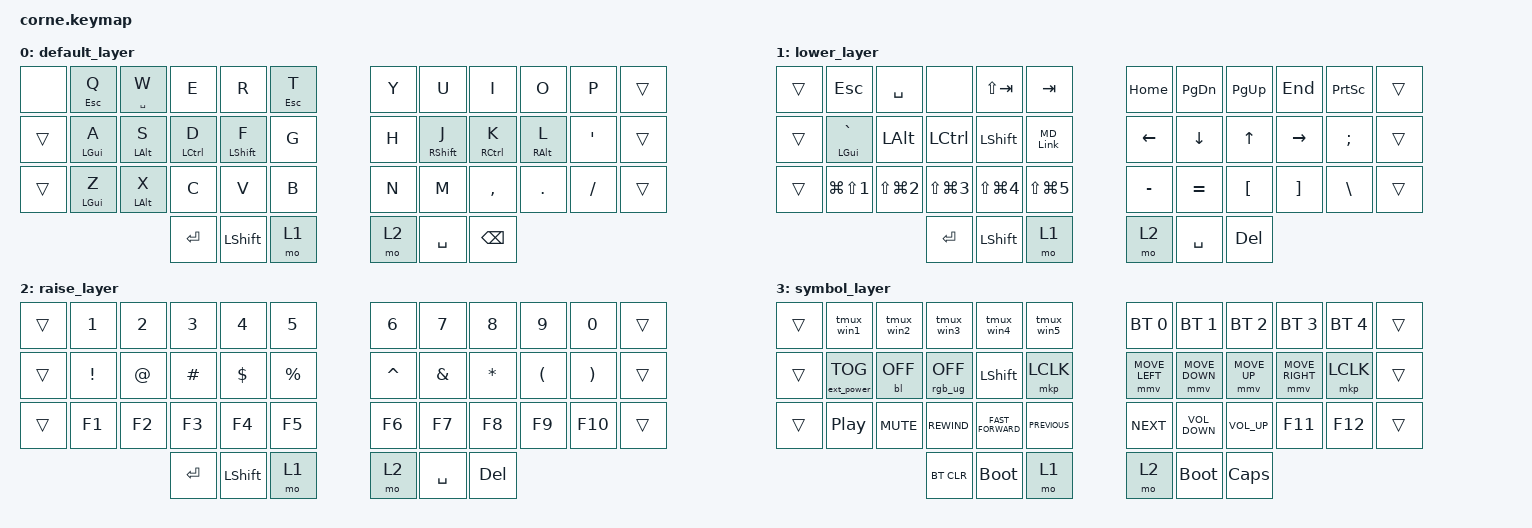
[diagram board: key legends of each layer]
/*
 * Copyright (c) 2020 The ZMK Contributors
 *
 * SPDX-License-Identifier: MIT
 */

#include <behaviors.dtsi>
#include <dt-bindings/zmk/backlight.h>
#include <dt-bindings/zmk/bt.h>
#include <dt-bindings/zmk/ext_power.h>
#include <dt-bindings/zmk/keys.h>
#include <dt-bindings/zmk/pointing.h>
#include <dt-bindings/zmk/rgb.h>

#define ZMK_POINTING_DEFAULT_MOVE_VAL 800  // default: 600
#define ZMK_POINTING_DEFAULT_SCRL_VAL 10    // default: 10
#define DEFAULT 0
#define LOWER   1
#define RAISE   2
#define SYMBOL  3

/ {
    behaviors {
        hm: homerow_mods {
            compatible = "zmk,behavior-hold-tap";
            #binding-cells = <2>;
            tapping-term-ms = <250>;
            quick-tap-ms = <0>;
            flavor = "tap-preferred";
            bindings = <&kp>, <&kp>;
        };
    };

    conditional_layers {
        compatible = "zmk,conditional-layers";

        tri_layer {
            if-layers = <1 2>;
            then-layer = <3>;
        };
    };

    macros {
        Copy: Copy {
            compatible = "zmk,behavior-macro";
            #binding-cells = <0>;
            bindings = <&kp LA(LS(TAB))>, <&macro_press>;

            label = "COPY";
        };

        MD_Link: MD_Link {
            compatible = "zmk,behavior-macro";
            #binding-cells = <0>;
            bindings = <&kp LEFT_BRACKET &kp RIGHT_BRACKET &kp LEFT_PARENTHESIS &kp RIGHT_PARENTHESIS>;
            label = "MD_LINK";
        };

        tmux_win1: tmux_win_1 {
            compatible = "zmk,behavior-macro";
            #binding-cells = <0>;
            bindings = <&kp LC(B) &kp NUMBER_1>;
            label = "TMUX_WIN_1";
        };

        tmux_win2: tmux_win2 {
            compatible = "zmk,behavior-macro";
            #binding-cells = <0>;
            bindings = <&kp LC(B) &kp NUMBER_2>;
            label = "TMUX_WIN2";
        };

        tmux_win3: tmux_win3 {
            compatible = "zmk,behavior-macro";
            #binding-cells = <0>;
            bindings = <&kp LC(B) &kp NUMBER_3>;
            label = "TMUX_WIN3";
        };

        tmux_win4: tmux_win4 {
            compatible = "zmk,behavior-macro";
            #binding-cells = <0>;
            bindings = <&kp LC(B) &kp NUMBER_4>;
            label = "TMUX_WIN4";
        };

        tmux_win5: tmux_win5 {
            compatible = "zmk,behavior-macro";
            #binding-cells = <0>;
            bindings = <&kp LC(B) &kp NUMBER_4>;
            label = "TMUX_WIN5";
        };
    };

    combos { compatible = "zmk,combos"; };

    keymap {
        compatible = "zmk,keymap";

        default_layer {
            // -----------------------------------------------------------------------------------------
            // |      |  Q  |  W  |  E  |  R  |  T  |   |  Y  |  U   |  I  |  O  |  P  | BSPC |
            // |      |  A  |  /S  |  CTRL/D  |  F  |  G  |   |  H  |  J   |  K  |  L  |  ;  |  '   |
            // |      |GUI/Z|  alt/X  |  C  |  V  |  B  |   |  N  |  M   |  ,  |  .  |  /  | ESC  |
            //                    | GUI | LWR | SPC |   | ENT | RSE  | ALT |

            bindings = <
&none   &hm ESCAPE Q    &hm SPACE W  &kp E        &kp R         &hm ESC T    &kp Y  &kp U         &kp I        &kp O       &kp P     &trans
&trans  &hm LEFT_GUI A  &hm LALT S   &hm LCTRL D  &hm LSHIFT F  &kp G        &kp H  &hm RSHIFT J  &hm RCTRL K  &hm RALT L  &kp SQT   &trans
&trans  &hm LGUI Z      &hm LALT X   &kp C        &kp V         &kp B        &kp N  &kp M         &kp COMMA    &kp DOT     &kp FSLH  &trans
                                     &kp ENTER    &kp LSHIFT    &mo 1        &mo 2  &kp SPACE     &kp BSPC
            >;
        };

        lower_layer {
            // -----------------------------------------------------------------------------------------
            // |  TAB |  1  |  2  |  3  |  LT |  GT |   |  6  |  7  |  8  |  9  |  0  | BSPC |
            // | BTCLR|  A  |  S  | CTRL|SHIFT|     |   | LFT | DWN |  UP | RGT |     |      |
            // | SHFT |     |     |     |     |     |   |     |     |     |     |     |      |
            //                    | GUI |     | SPC |   | ENT |     | ALT |

            bindings = <
&trans  &kp ESC               &kp SPACE             &none                 &kp LS(TAB)           &kp TAB           &kp HOME   &kp PG_DN  &kp PG_UP         &kp END            &kp PSCRN      &trans
&trans  &hm LEFT_GUI GRAVE    &kp LEFT_ALT          &kp LEFT_CONTROL      &kp LSHIFT            &MD_Link          &kp LEFT   &kp DOWN   &kp UP            &kp RIGHT          &kp SEMI       &trans
&trans  &kp LG(LS(NUMBER_1))  &kp LS(LG(NUMBER_2))  &kp LS(LG(NUMBER_3))  &kp LS(LG(NUMBER_4))  &kp LS(LG(N5))    &kp MINUS  &kp EQUAL  &kp LEFT_BRACKET  &kp RIGHT_BRACKET  &kp BACKSLASH  &trans
                                                    &kp ENTER             &kp LSHIFT            &mo 1             &mo 2      &kp SPACE  &kp DELETE
            >;
        };

        raise_layer {
            // -----------------------------------------------------------------------------------------
            // |  TAB |  1  |  2  |  3  |  4  |  5  |   |  6  |  7  |  8  |  9  |  0  | BSPC |
            // | CTRL |  !  |  @  |  #  |  $  |  %  |   |  ^  |  &  |  *  |  (  |  )  | BSPC |
            // | SHFT | F1  |  F2 | F3  | F4  | F5  |   | F6  | F7  | F8  | F9  | F10 j| BSPC |
            //                    | GUI |     | SPC |   | ENT |     | ALT |

            bindings = <
&trans  &kp N1    &kp N2  &kp N3     &kp N4      &kp N5       &kp N6     &kp N7     &kp N8      &kp N9    &kp N0    &trans
&trans  &kp EXCL  &kp AT  &kp HASH   &kp DLLR    &kp PRCNT    &kp CARET  &kp AMPS   &kp ASTRK   &kp LPAR  &kp RPAR  &trans
&trans  &kp F1    &kp F2  &kp F3     &kp F4      &kp F5       &kp F6     &kp F7     &kp F8      &kp F9    &kp F10   &trans
                          &kp ENTER  &kp LSHIFT  &mo 1        &mo 2      &kp SPACE  &kp DELETE
            >;
        };

        symbol_layer {
            // -----------------------------------------------------------------------------------------
            // |  TAB | `    | REW  | FF   |STOP |PLAY |   |     |     |     |     |     | BSPC |
            // | CTRL |EP_TOG|EP_ON |EP_OFF|     |BTCLR|   | BT1 | BT2 | BT3 | BT4 | BT5 |      |
            // | SHFT |MUTE  |VOL D |VOL U |RWND |NEXT |   | F11 | F12 | "|" |  [  |  ]  |  ~   |
            //                    | GUI |     | SPC |   | ENT |     | ALT |

            bindings = <
&trans  &tmux_win1         &tmux_win2  &tmux_win3       &tmux_win4          &tmux_win5        &bt BT_SEL 0    &bt BT_SEL 1       &bt BT_SEL 2     &bt BT_SEL 3     &bt BT_SEL 4  &trans
&trans  &ext_power EP_TOG  &bl BL_OFF  &rgb_ug RGB_OFF  &kp LEFT_SHIFT      &mkp LCLK         &mmv MOVE_LEFT  &mmv MOVE_DOWN     &mmv MOVE_UP     &mmv MOVE_RIGHT  &mkp LCLK     &trans
&trans  &kp C_PLAY_PAUSE   &kp C_MUTE  &kp C_REWIND     &kp C_FAST_FORWARD  &kp C_PREVIOUS    &kp C_NEXT      &kp C_VOLUME_DOWN  &kp C_VOLUME_UP  &kp F11          &kp F12       &trans
                                       &bt BT_CLR       &bootloader         &mo 1             &mo 2           &bootloader        &kp CAPSLOCK
            >;
        };
    };
};
